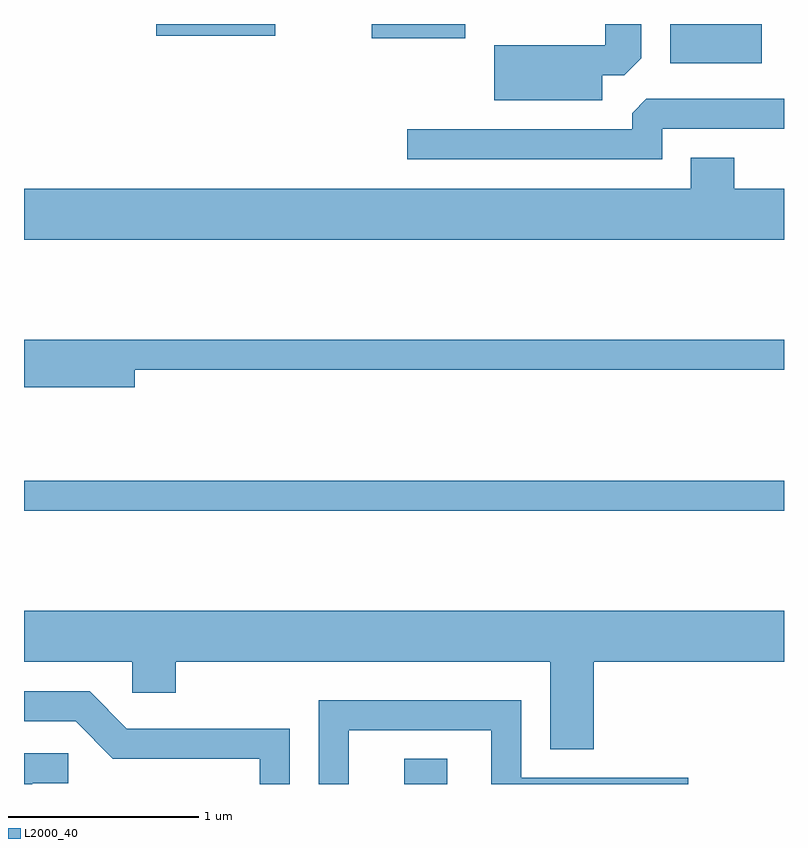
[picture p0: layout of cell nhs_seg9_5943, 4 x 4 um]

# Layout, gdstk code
import gdstk
lib = gdstk.Library(unit=1e-6, precision=1e-09)
def R(c, l, rs):  # rectangles x0, y0, x1, y1
    for r in rs: c.add(gdstk.rectangle(r[:2], r[2:], *l))
def P(c, l, *ps):  # polygons
    for p in ps: c.add(gdstk.Polygon(p, *l))
L2000_40 = (2000, 40)

nhs_seg9_5943 = lib.new_cell('nhs_seg9_5943')
R(nhs_seg9_5943, L2000_40, [(361.611,2064.432,361.839,2064.564), (359.611,2065.871,363.611,2066.029), (363.011,2068.226,363.494,2068.432), (361.441,2068.356,361.934,2068.432), (360.306,2068.371,360.934,2068.432)])
P(nhs_seg9_5943, L2000_40, [(362.654,2068.161),(362.769,2068.161),(362.859,2068.251),(362.859,2068.432),(362.671,2068.432),(362.671,2068.319),(362.086,2068.319),(362.086,2068.031),(362.654,2068.031)],
  [(362.969,2067.881),(363.611,2067.881),(363.611,2068.039),(362.887,2068.039),(362.811,2067.963),(362.811,2067.879),(361.628,2067.879),(361.628,2067.721),(362.969,2067.721)],
  [(363.611,2067.564),(363.349,2067.564),(363.349,2067.729),(363.121,2067.729),(363.121,2067.564),(359.611,2067.564),(359.611,2067.296),(363.611,2067.296)],
  [(360.194,2066.611),(363.611,2066.611),(363.611,2066.769),(359.611,2066.769),(359.611,2066.521),(360.194,2066.521)],
  [(362.609,2065.076),(363.611,2065.076),(363.611,2065.344),(359.611,2065.344),(359.611,2065.076),(360.181,2065.076),(360.181,2064.911),(360.409,2064.911),(360.409,2065.076),(362.381,2065.076),(362.381,2064.616),(362.609,2064.616)],
  [(361.009,2064.724),(360.152,2064.724),(359.957,2064.919),(359.611,2064.919),(359.611,2064.761),(359.884,2064.761),(360.079,2064.566),(360.851,2064.566),(360.851,2064.432),(361.009,2064.432)],
  [(361.319,2064.716),(362.071,2064.716),(362.071,2064.432),(363.108,2064.432),(363.108,2064.464),(362.229,2064.464),(362.229,2064.874),(361.161,2064.874),(361.161,2064.432),(361.319,2064.432)],
  [(359.654,2064.436),(359.843,2064.436),(359.843,2064.594),(359.611,2064.594),(359.611,2064.432),(359.654,2064.432)])

lib.write_gds('nhs_seg9_5943.gds')
